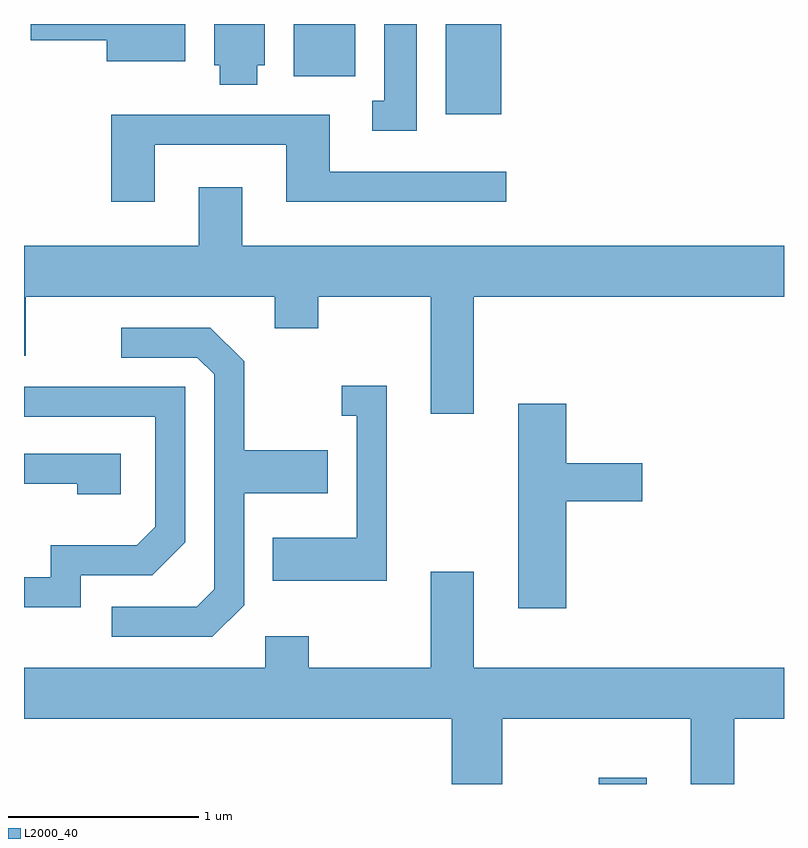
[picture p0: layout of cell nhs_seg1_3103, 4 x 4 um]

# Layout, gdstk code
import gdstk
lib = gdstk.Library(unit=1e-6, precision=1e-09)
def R(c, l, rs):  # rectangles x0, y0, x1, y1
    for r in rs: c.add(gdstk.rectangle(r[:2], r[2:], *l))
def P(c, l, *ps):  # polygons
    for p in ps: c.add(gdstk.Polygon(p, *l))
L2000_40 = (2000, 40)

nhs_seg1_3103 = lib.new_cell('nhs_seg1_3103')
R(nhs_seg1_3103, L2000_40, [(282.636,863.712,282.889,863.744), (281.831,867.236,282.124,867.712), (281.031,867.436,281.354,867.712)])
P(nhs_seg1_3103, L2000_40, [(281.679,867.712),(281.506,867.712),(281.506,867.309),(281.443,867.309),(281.443,867.151),(281.679,867.151)],
  [(280.839,867.496),(280.879,867.496),(280.879,867.712),(280.611,867.712),(280.611,867.496),(280.641,867.496),(280.641,867.391),(280.839,867.391)],
  [(280.459,867.712),(279.646,867.712),(279.646,867.626),(280.046,867.626),(280.046,867.516),(280.459,867.516)],
  [(280.299,867.076),(280.991,867.076),(280.991,866.776),(282.148,866.776),(282.148,866.934),(281.219,866.934),(281.219,867.234),(280.071,867.234),(280.071,866.776),(280.299,866.776)],
  [(281.979,866.276),(283.611,866.276),(283.611,866.544),(280.759,866.544),(280.759,866.854),(280.531,866.854),(280.531,866.544),(279.611,866.544),(279.611,865.966),(279.619,865.966),(279.619,866.276),(280.931,866.276),(280.931,866.111),(281.159,866.111),(281.159,866.276),(281.751,866.276),(281.751,865.661),(281.979,865.661)],
  [(280.769,864.654),(280.769,865.241),(281.209,865.241),(281.209,865.469),(280.769,865.469),(280.769,865.937),(280.592,866.114),(280.123,866.114),(280.123,865.956),(280.524,865.956),(280.611,865.869),(280.611,864.737),(280.519,864.644),(280.073,864.644),(280.073,864.486),(280.602,864.486)],
  [(281.519,865.809),(281.283,865.809),(281.283,865.651),(281.361,865.651),(281.361,865.009),(280.921,865.009),(280.921,864.781),(281.519,864.781)],
  [(279.909,864.811),(280.287,864.811),(280.459,864.984),(280.459,865.804),(279.611,865.804),(279.611,865.646),(280.301,865.646),(280.301,865.067),(280.204,864.969),(279.751,864.969),(279.751,864.799),(279.611,864.799),(279.611,864.641),(279.909,864.641)],
  [(282.464,865.201),(282.864,865.201),(282.864,865.399),(282.464,865.399),(282.464,865.714),(282.211,865.714),(282.211,864.636),(282.464,864.636)],
  [(280.119,865.449),(279.611,865.449),(279.611,865.291),(279.891,865.291),(279.891,865.236),(280.119,865.236)],
  [(282.129,864.056),(283.121,864.056),(283.121,863.712),(283.349,863.712),(283.349,864.056),(283.611,864.056),(283.611,864.324),(281.979,864.324),(281.979,864.829),(281.751,864.829),(281.751,864.324),(281.109,864.324),(281.109,864.489),(280.881,864.489),(280.881,864.324),(279.611,864.324),(279.611,864.056),(281.861,864.056),(281.861,863.712),(282.129,863.712)])

lib.write_gds('nhs_seg1_3103.gds')
